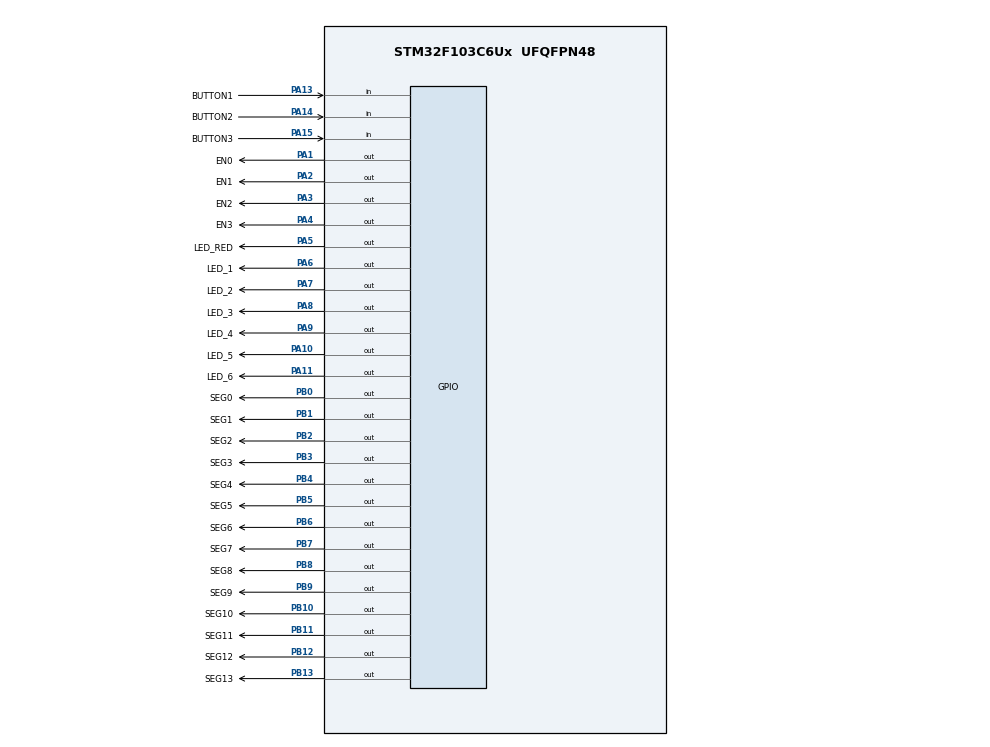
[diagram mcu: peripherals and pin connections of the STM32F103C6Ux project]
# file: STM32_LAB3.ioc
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Mcu.Family=STM32F1
Mcu.Name=STM32F103C6Ux
Mcu.Package=UFQFPN48
NVIC.PriorityGroup=NVIC_PRIORITYGROUP_4
NVIC.TIM2_IRQn=true\:0\:0\:false\:false\:true\:true\:true
PA1.GPIO_Label=EN0
PA1.Signal=GPIO_Output
PA10.GPIO_Label=LED_5
PA10.Signal=GPIO_Output
PA11.GPIO_Label=LED_6
PA11.Signal=GPIO_Output
PA13.GPIO_Label=BUTTON1
PA13.GPIO_PuPd=GPIO_PULLUP
PA13.Signal=GPIO_Input
PA14.GPIO_Label=BUTTON2
PA14.GPIO_PuPd=GPIO_PULLUP
PA14.Signal=GPIO_Input
PA15.GPIO_Label=BUTTON3
PA15.GPIO_PuPd=GPIO_PULLUP
PA15.Signal=GPIO_Input
PA2.GPIO_Label=EN1
PA2.Signal=GPIO_Output
PA3.GPIO_Label=EN2
PA3.Signal=GPIO_Output
PA4.GPIO_Label=EN3
PA4.Signal=GPIO_Output
PA5.GPIO_Label=LED_RED
PA5.Signal=GPIO_Output
PA6.GPIO_Label=LED_1
PA6.Signal=GPIO_Output
PA7.GPIO_Label=LED_2
PA7.Signal=GPIO_Output
PA8.GPIO_Label=LED_3
PA8.Signal=GPIO_Output
PA9.GPIO_Label=LED_4
PA9.Signal=GPIO_Output
PB0.GPIO_Label=SEG0
PB0.Signal=GPIO_Output
PB1.GPIO_Label=SEG1
PB1.Signal=GPIO_Output
PB10.GPIO_Label=SEG10
PB10.Signal=GPIO_Output
PB11.GPIO_Label=SEG11
PB11.Signal=GPIO_Output
PB12.GPIO_Label=SEG12
PB12.Signal=GPIO_Output
PB13.GPIO_Label=SEG13
PB13.Signal=GPIO_Output
PB2.GPIO_Label=SEG2
PB2.Signal=GPIO_Output
PB3.GPIO_Label=SEG3
PB3.Signal=GPIO_Output
PB4.GPIO_Label=SEG4
PB4.Signal=GPIO_Output
PB5.GPIO_Label=SEG5
PB5.Signal=GPIO_Output
PB6.GPIO_Label=SEG6
PB6.Signal=GPIO_Output
PB7.GPIO_Label=SEG7
PB7.Signal=GPIO_Output
PB8.GPIO_Label=SEG8
PB8.Signal=GPIO_Output
PB9.GPIO_Label=SEG9
PB9.Signal=GPIO_Output
ProjectManager.HeapSize=0x200
ProjectManager.StackSize=0x400
ProjectManager.TargetToolchain=STM32CubeIDE
RCC.APB1Freq_Value=8000000
RCC.APB2Freq_Value=8000000
TIM2.Period=9
TIM2.Prescaler=7999
VP_SYS_VS_ND.Mode=No_Debug
VP_TIM2_VS_ClockSourceINT.Mode=Internal
board=custom

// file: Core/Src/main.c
/* USER CODE BEGIN Header */
/**
  ******************************************************************************
  * @file           : main.c
  * @brief          : Main program body
  ******************************************************************************
  * @attention
  *
  * <h2><center>&copy; Copyright (c) 2024 STMicroelectronics.
  * All rights reserved.</center></h2>
  *
  * This software component is licensed by ST under BSD 3-Clause license,
  * the "License"; You may not use this file except in compliance with the
  * License. You may obtain a copy of the License at:
  *                        opensource.org/licenses/BSD-3-Clause
  *
  ******************************************************************************
  */
/* USER CODE END Header */
#include "main.h"

/* USER CODE BEGIN Includes */
#include "button.h"
#include "software_timer.h"
#include "fsm_automatic.h"
#include "fsm_manual.h"
#include "fsm_setting.h"
#include "scheduler.h"
/* USER CODE END Includes */

TIM_HandleTypeDef htim2;

void SystemClock_Config(void);
static void MX_GPIO_Init(void);
static void MX_TIM2_Init(void);

int main(void)
{

  /* MCU Configuration--------------------------------------------------------*/

  /* Reset of all peripherals, Initializes the Flash interface and the Systick. */
  HAL_Init();

  /* Configure the system clock */
  SystemClock_Config();

  /* Initialize all configured peripherals */
  MX_GPIO_Init();
  MX_TIM2_Init();
  /* USER CODE BEGIN 2 */
  HAL_TIM_Base_Start_IT(&htim2);
  /* USER CODE END 2 */

  /* Infinite loop */
  /* USER CODE BEGIN WHILE */
  status = INIT;
  red = 5, green = 3, amber = 2;

  SCH_init();
  SCH_Add_Task(timerRun, 0, 10);
  SCH_Add_Task(getKeyInput, 0, 10);
  SCH_Add_Task(fsm_automatic_run, 0, 10);
  SCH_Add_Task(fsm_manual_run, 0, 10);
  SCH_Add_Task(fsm_setting_run, 0, 10);

  while (1)
  {
	  SCH_Dispatch_Tasks();
    /* USER CODE END WHILE */

  }
}

void SystemClock_Config(void)
{
  RCC_OscInitTypeDef RCC_OscInitStruct = {0};
  RCC_ClkInitTypeDef RCC_ClkInitStruct = {0};

  /** Initializes the RCC Oscillators according to the specified parameters
  * in the RCC_OscInitTypeDef structure.
  */
  RCC_OscInitStruct.OscillatorType = RCC_OSCILLATORTYPE_HSI;
  RCC_OscInitStruct.HSIState = RCC_HSI_ON;
  RCC_OscInitStruct.HSICalibrationValue = RCC_HSICALIBRATION_DEFAULT;
  RCC_OscInitStruct.PLL.PLLState = RCC_PLL_NONE;
  if (HAL_RCC_OscConfig(&RCC_OscInitStruct) != HAL_OK)
  {
    Error_Handler();
  }
  /** Initializes the CPU, AHB and APB buses clocks
  */
  RCC_ClkInitStruct.ClockType = RCC_CLOCKTYPE_HCLK|RCC_CLOCKTYPE_SYSCLK
                              |RCC_CLOCKTYPE_PCLK1|RCC_CLOCKTYPE_PCLK2;
  RCC_ClkInitStruct.SYSCLKSource = RCC_SYSCLKSOURCE_HSI;
  RCC_ClkInitStruct.AHBCLKDivider = RCC_SYSCLK_DIV1;
  RCC_ClkInitStruct.APB1CLKDivider = RCC_HCLK_DIV1;
  RCC_ClkInitStruct.APB2CLKDivider = RCC_HCLK_DIV1;

  if (HAL_RCC_ClockConfig(&RCC_ClkInitStruct, FLASH_LATENCY_0) != HAL_OK)
  {
    Error_Handler();
  }
}

static void MX_TIM2_Init(void)
{

  TIM_ClockConfigTypeDef sClockSourceConfig = {0};
  TIM_MasterConfigTypeDef sMasterConfig = {0};

  htim2.Instance = TIM2;
  htim2.Init.Prescaler = 7999;
  htim2.Init.CounterMode = TIM_COUNTERMODE_UP;
  htim2.Init.Period = 9;
  htim2.Init.ClockDivision = TIM_CLOCKDIVISION_DIV1;
  htim2.Init.AutoReloadPreload = TIM_AUTORELOAD_PRELOAD_DISABLE;
  if (HAL_TIM_Base_Init(&htim2) != HAL_OK)
  {
    Error_Handler();
  }
  sClockSourceConfig.ClockSource = TIM_CLOCKSOURCE_INTERNAL;
  if (HAL_TIM_ConfigClockSource(&htim2, &sClockSourceConfig) != HAL_OK)
  {
    Error_Handler();
  }
  sMasterConfig.MasterOutputTrigger = TIM_TRGO_RESET;
  sMasterConfig.MasterSlaveMode = TIM_MASTERSLAVEMODE_DISABLE;
  if (HAL_TIMEx_MasterConfigSynchronization(&htim2, &sMasterConfig) != HAL_OK)
  {
    Error_Handler();
  }

}

static void MX_GPIO_Init(void)
{
  GPIO_InitTypeDef GPIO_InitStruct = {0};

  /* GPIO Ports Clock Enable */
  __HAL_RCC_GPIOA_CLK_ENABLE();
  __HAL_RCC_GPIOB_CLK_ENABLE();

  /*Configure GPIO pin Output Level */
  HAL_GPIO_WritePin(GPIOA, EN0_Pin|EN1_Pin|EN2_Pin|EN3_Pin
                          |LED_RED_Pin|LED_1_Pin|LED_2_Pin|LED_3_Pin
                          |LED_4_Pin|LED_5_Pin|LED_6_Pin, GPIO_PIN_RESET);

  /*Configure GPIO pin Output Level */
  HAL_GPIO_WritePin(GPIOB, SEG0_Pin|SEG1_Pin|SEG2_Pin|SEG10_Pin
                          |SEG11_Pin|SEG12_Pin|SEG13_Pin|SEG3_Pin
                          |SEG4_Pin|SEG5_Pin|SEG6_Pin|SEG7_Pin
                          |SEG8_Pin|SEG9_Pin, GPIO_PIN_RESET);

  /*Configure GPIO pins : EN0_Pin EN1_Pin EN2_Pin EN3_Pin
                           LED_RED_Pin LED_1_Pin LED_2_Pin LED_3_Pin
                           LED_4_Pin LED_5_Pin LED_6_Pin */
  GPIO_InitStruct.Pin = EN0_Pin|EN1_Pin|EN2_Pin|EN3_Pin
                          |LED_RED_Pin|LED_1_Pin|LED_2_Pin|LED_3_Pin
                          |LED_4_Pin|LED_5_Pin|LED_6_Pin;
  GPIO_InitStruct.Mode = GPIO_MODE_OUTPUT_PP;
  GPIO_InitStruct.Pull = GPIO_NOPULL;
  GPIO_InitStruct.Speed = GPIO_SPEED_FREQ_LOW;
  HAL_GPIO_Init(GPIOA, &GPIO_InitStruct);

  /*Configure GPIO pins : SEG0_Pin SEG1_Pin SEG2_Pin SEG10_Pin
                           SEG11_Pin SEG12_Pin SEG13_Pin SEG3_Pin
                           SEG4_Pin SEG5_Pin SEG6_Pin SEG7_Pin
                           SEG8_Pin SEG9_Pin */
  GPIO_InitStruct.Pin = SEG0_Pin|SEG1_Pin|SEG2_Pin|SEG10_Pin
                          |SEG11_Pin|SEG12_Pin|SEG13_Pin|SEG3_Pin
                          |SEG4_Pin|SEG5_Pin|SEG6_Pin|SEG7_Pin
                          |SEG8_Pin|SEG9_Pin;
  GPIO_InitStruct.Mode = GPIO_MODE_OUTPUT_PP;
  GPIO_InitStruct.Pull = GPIO_NOPULL;
  GPIO_InitStruct.Speed = GPIO_SPEED_FREQ_LOW;
  HAL_GPIO_Init(GPIOB, &GPIO_InitStruct);

  /*Configure GPIO pins : BUTTON1_Pin BUTTON2_Pin BUTTON3_Pin */
  GPIO_InitStruct.Pin = BUTTON1_Pin|BUTTON2_Pin|BUTTON3_Pin;
  GPIO_InitStruct.Mode = GPIO_MODE_INPUT;
  GPIO_InitStruct.Pull = GPIO_PULLUP;
  HAL_GPIO_Init(GPIOA, &GPIO_InitStruct);

}

/* USER CODE BEGIN 4 */

void HAL_TIM_PeriodElapsedCallback(TIM_HandleTypeDef *htim)
{
	SCH_Update();
}

/* USER CODE END 4 */

void Error_Handler(void)
{
  __disable_irq();
  while (1)
  {
  }
}

/************************ (C) COPYRIGHT STMicroelectronics *****END OF FILE****/
